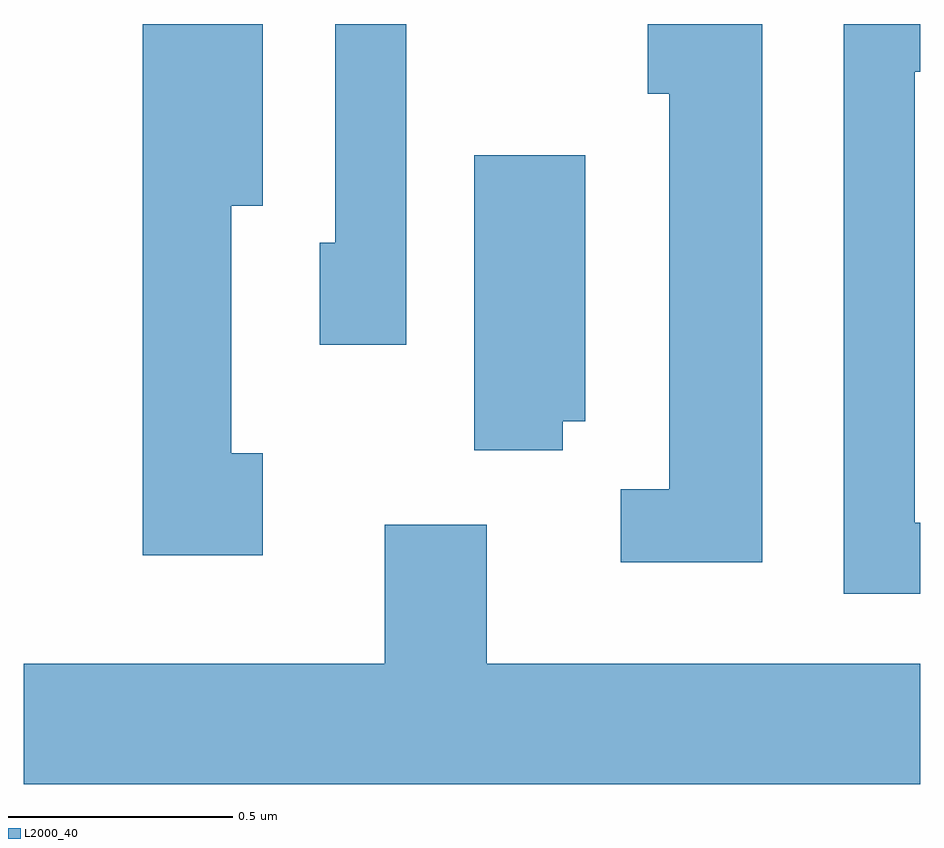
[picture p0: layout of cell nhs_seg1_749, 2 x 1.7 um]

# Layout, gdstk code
import gdstk
lib = gdstk.Library(unit=1e-6, precision=1e-09)
def P(c, l, *ps):  # polygons
    for p in ps: c.add(gdstk.Polygon(p, *l))
L2000_40 = (2000, 40)

nhs_seg1_749 = lib.new_cell('nhs_seg1_749')
P(nhs_seg1_749, L2000_40, [(191.144,904.754),(191.074,904.754),(191.074,905.306),(191.144,905.306),(191.144,905.712),(190.876,905.712),(190.876,904.526),(191.144,904.526)],
  [(192.611,904.599),(192.599,904.599),(192.599,905.606),(192.611,905.606),(192.611,905.712),(192.441,905.712),(192.441,904.441),(192.611,904.441)],
  [(192.259,905.712),(192.003,905.712),(192.003,905.556),(192.051,905.556),(192.051,904.674),(191.943,904.674),(191.943,904.511),(192.259,904.511)],
  [(191.464,905.712),(191.306,905.712),(191.306,905.224),(191.271,905.224),(191.271,904.996),(191.464,904.996)],
  [(191.814,904.826),(191.864,904.826),(191.864,905.419),(191.616,905.419),(191.616,904.761),(191.814,904.761)],
  [(192.611,904.284),(191.644,904.284),(191.644,904.594),(191.416,904.594),(191.416,904.284),(190.611,904.284),(190.611,904.016),(192.611,904.016)])

lib.write_gds('nhs_seg1_749.gds')
